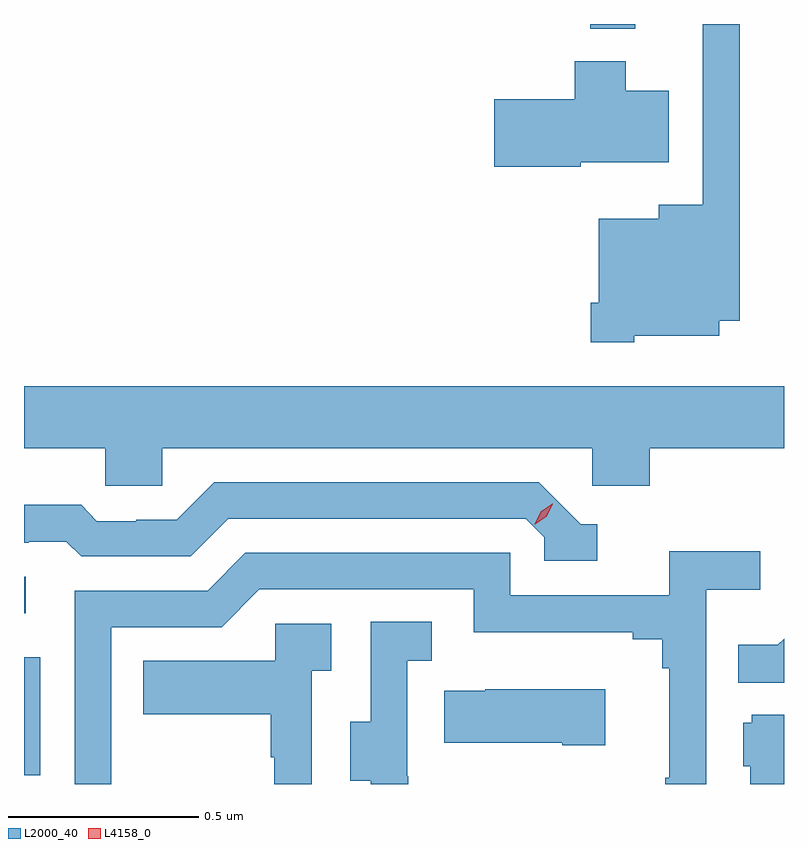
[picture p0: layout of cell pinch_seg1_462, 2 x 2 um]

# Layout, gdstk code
import gdstk
lib = gdstk.Library(unit=1e-6, precision=1e-09)
def R(c, l, rs):  # rectangles x0, y0, x1, y1
    for r in rs: c.add(gdstk.rectangle(r[:2], r[2:], *l))
def P(c, l, *ps):  # polygons
    for p in ps: c.add(gdstk.Polygon(p, *l))
L2000_40 = (2000, 40)
L4158_0 = (4158, 0)

pinch_seg1_462 = lib.new_cell('pinch_seg1_462')
R(pinch_seg1_462, L2000_40, [(981.077,518.904,981.12,519.214), (981.077,519.33,981.082,519.426), (982.567,520.868,982.685,520.881)])
P(pinch_seg1_462, L2000_40, [(982.683,520.061),(982.906,520.061),(982.906,520.1),(982.96,520.1),(982.96,520.881),(982.863,520.881),(982.863,520.405),(982.748,520.405),(982.748,520.369),(982.589,520.369),(982.589,520.147),(982.568,520.147),(982.568,520.043),(982.683,520.043)],
  [(982.542,520.517),(982.774,520.517),(982.774,520.705),(982.66,520.705),(982.66,520.783),(982.526,520.783),(982.526,520.683),(982.314,520.683),(982.314,520.505),(982.542,520.505)],
  [(981.441,519.764),(982.572,519.764),(982.572,519.666),(982.724,519.666),(982.724,519.764),(983.077,519.764),(983.077,519.928),(981.077,519.928),(981.077,519.764),(981.291,519.764),(981.291,519.666),(981.441,519.666)],
  [(982.585,519.564),(982.542,519.564),(982.431,519.675),(981.578,519.675),(981.479,519.576),(981.372,519.576),(981.372,519.573),(981.269,519.573),(981.227,519.616),(981.077,519.616),(981.077,519.516),(981.089,519.516),(981.089,519.519),(981.188,519.519),(981.227,519.48),(981.516,519.48),(981.615,519.579),(982.398,519.579),(982.446,519.531),(982.446,519.468),(982.585,519.468)],
  [(981.306,519.294),(981.597,519.294),(981.696,519.393),(982.26,519.393),(982.26,519.281),(982.679,519.281),(982.679,519.262),(982.756,519.262),(982.756,519.185),(982.775,519.185),(982.775,518.897),(982.764,518.897),(982.764,518.881),(982.872,518.881),(982.872,519.392),(983.014,519.392),(983.014,519.494),(982.775,519.494),(982.775,519.378),(982.356,519.378),(982.356,519.489),(981.659,519.489),(981.56,519.39),(981.21,519.39),(981.21,518.881),(981.306,518.881)],
  [(982.088,518.901),(982.086,518.901),(982.086,519.205),(982.15,519.205),(982.15,519.308),(981.99,519.308),(981.99,519.045),(981.935,519.045),(981.935,518.89),(981.989,518.89),(981.989,518.881),(982.088,518.881)],
  [(981.834,519.179),(981.886,519.179),(981.886,519.303),(981.738,519.303),(981.738,519.205),(981.391,519.205),(981.391,519.065),(981.726,519.065),(981.726,518.951),(981.736,518.951),(981.736,518.881),(981.834,518.881)],
  [(983.077,519.263),(983.061,519.247),(982.957,519.247),(982.957,519.148),(983.077,519.148)],
  [(982.606,519.13),(982.291,519.13),(982.291,519.127),(982.183,519.127),(982.183,518.99),(982.493,518.99),(982.493,518.983),(982.606,518.983)],
  [(983.077,519.063),(982.992,519.063),(982.992,519.042),(982.97,519.042),(982.97,518.928),(982.988,518.928),(982.988,518.881),(983.077,518.881)])
P(pinch_seg1_462, L4158_0, [(982.421,519.565),(982.421,519.566),(982.437,519.598),(982.467,519.618),(982.468,519.618),(982.468,519.618),(982.452,519.585),(982.422,519.565)])

lib.write_gds('pinch_seg1_462.gds')
